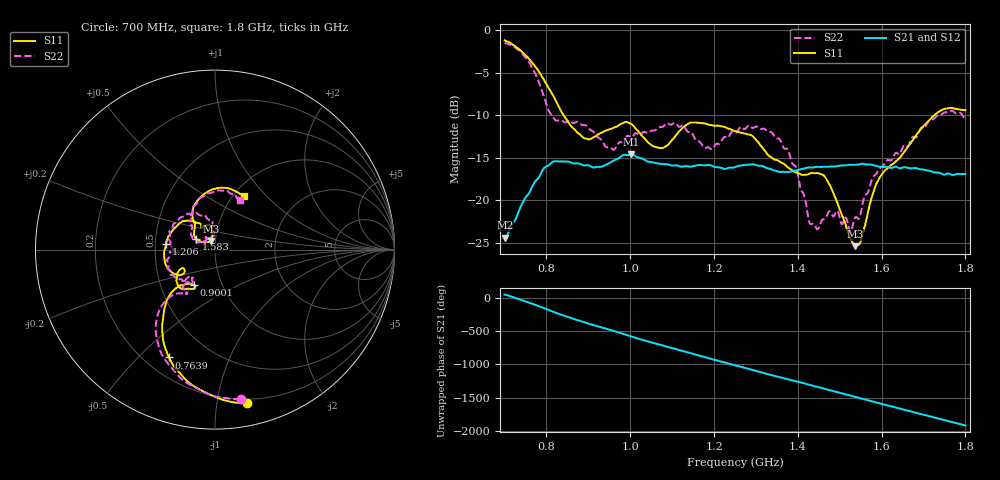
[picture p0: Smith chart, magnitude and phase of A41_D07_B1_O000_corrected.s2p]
! Created with skrf 1.9.0 (http://scikit-rf.org).
# Hz S RI R 50.0
!freq ReS11 ImS11 ReS21 ImS21 ReS12 ImS12 ReS22 ImS22
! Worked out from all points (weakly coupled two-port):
!   1601 points, 700 MHz to 1.8 GHz, reference 50 ohm
!   highest |S21| = -14.58 dB at 1.002 GHz (marker M1); lowest = -24.4 dB at 700.7 MHz (marker M2)
!   lowest |S11| = -25.4 dB at 1.537 GHz (marker M3), VSWR 1.11, Z = 47.4 + j4.57 ohm
!   |S11| at or under -10 dB: 840.8 MHz to 1.725 GHz (884.7 MHz wide, 68.9 % of centre)
!   |S22| runs from -23.8 to -1.5 dB; largest |S21 - S12| = 0.0035
!   S11 on the Smith chart (normalised r, x): 700 MHz: 0.17, -1.21; 763.9 MHz: 0.30, -0.62; 900.1 MHz: 0.74, -0.31; 1.206 GHz: 0.57, +0.04; 1.583 GHz: 0.81, +0.09; 1.8 GHz: 1.12, +0.75
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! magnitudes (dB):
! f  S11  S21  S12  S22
! 700 MHz  -1.2  -24.4  -24.2  -1.5
! 700.7 MHz  -1.2  -24.4  -24.1  -1.5
! 763.9 MHz  -3.7  -18.6  -18.6  -4.2
! 817.6 MHz  -7.8  -15.4  -15.5  -10.4
! 883.6 MHz  -12.4  -15.8  -15.7  -11.1
! 900.1 MHz  -12.8  -15.9  -15.9  -11.5
! 958.5 MHz  -11.5  -15.4  -15.4  -14.0
! 1.002 GHz  -11.0  -14.6  -14.7  -12.6
! 1.067 GHz  -13.8  -15.7  -15.6  -11.4
! 1.143 GHz  -10.9  -16.0  -16.0  -11.9
! 1.206 GHz  -11.2  -16.1  -16.1  -13.4
! 1.25 GHz  -11.9  -16.1  -16.0  -12.0
! 1.357 GHz  -15.4  -16.7  -16.6  -12.8
! 1.396 GHz  -16.7  -16.5  -16.5  -16.1
! 1.434 GHz  -16.8  -16.2  -16.1  -22.8
! 1.471 GHz  -17.7  -16.0  -16.0  -21.6
! 1.537 GHz  -25.4  -15.8  -15.8  -22.0
! 1.55 GHz  -24.7  -15.7  -15.8  -21.5
! 1.583 GHz  -18.5  -15.9  -15.9  -17.1
! 1.617 GHz  -16.1  -16.1  -16.1  -15.3
! 1.732 GHz  -9.7  -16.7  -16.7  -10.1
! 1.8 GHz  -9.4  -16.9  -16.9  -10.2
